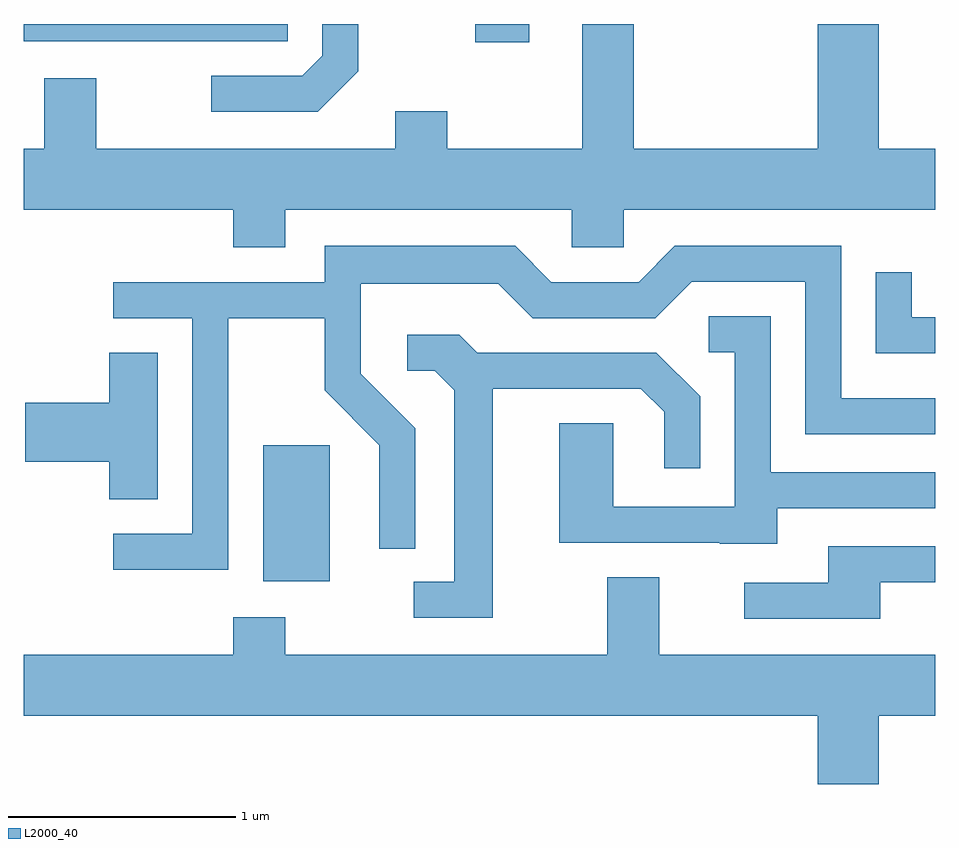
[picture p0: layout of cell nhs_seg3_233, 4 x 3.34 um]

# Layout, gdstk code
import gdstk
lib = gdstk.Library(unit=1e-6, precision=1e-09)
def R(c, l, rs):  # rectangles x0, y0, x1, y1
    for r in rs: c.add(gdstk.rectangle(r[:2], r[2:], *l))
def P(c, l, *ps):  # polygons
    for p in ps: c.add(gdstk.Polygon(p, *l))
L2000_40 = (2000, 40)

nhs_seg3_233 = lib.new_cell('nhs_seg3_233')
R(nhs_seg3_233, L2000_40, [(192.661,1175.446,192.954,1176.044), (193.593,1177.811,193.829,1177.892), (191.611,1177.816,192.769,1177.892)])
P(nhs_seg3_233, L2000_40, [(192.759,1177.076),(194.016,1177.076),(194.016,1176.911),(194.244,1176.911),(194.244,1177.076),(195.611,1177.076),(195.611,1177.344),(195.364,1177.344),(195.364,1177.892),(195.096,1177.892),(195.096,1177.344),(194.289,1177.344),(194.289,1177.892),(194.061,1177.892),(194.061,1177.344),(193.469,1177.344),(193.469,1177.509),(193.241,1177.509),(193.241,1177.344),(191.929,1177.344),(191.929,1177.654),(191.701,1177.654),(191.701,1177.344),(191.611,1177.344),(191.611,1177.076),(192.531,1177.076),(192.531,1176.911),(192.759,1176.911)],
  [(193.079,1177.684),(193.079,1177.892),(192.921,1177.892),(192.921,1177.752),(192.834,1177.664),(192.433,1177.664),(192.433,1177.506),(192.902,1177.506)],
  [(192.509,1176.601),(192.931,1176.601),(192.931,1176.284),(193.171,1176.044),(193.171,1175.588),(193.329,1175.588),(193.329,1176.117),(193.089,1176.357),(193.089,1176.751),(193.694,1176.751),(193.844,1176.601),(194.382,1176.601),(194.542,1176.761),(195.041,1176.761),(195.041,1176.091),(195.611,1176.091),(195.611,1176.249),(195.199,1176.249),(195.199,1176.919),(194.469,1176.919),(194.309,1176.759),(193.927,1176.759),(193.767,1176.919),(192.931,1176.919),(192.931,1176.759),(192.003,1176.759),(192.003,1176.601),(192.351,1176.601),(192.351,1175.654),(192.003,1175.654),(192.003,1175.496),(192.509,1175.496)],
  [(195.611,1176.604),(195.509,1176.604),(195.509,1176.803),(195.351,1176.803),(195.351,1176.446),(195.611,1176.446)],
  [(194.919,1175.766),(195.611,1175.766),(195.611,1175.924),(194.889,1175.924),(194.889,1176.609),(194.618,1176.609),(194.618,1176.451),(194.731,1176.451),(194.731,1175.774),(194.199,1175.774),(194.199,1176.139),(193.961,1176.139),(193.961,1175.616),(194.665,1175.616),(194.665,1175.611),(194.919,1175.611)],
  [(193.669,1176.291),(194.319,1176.291),(194.421,1176.189),(194.421,1175.943),(194.579,1175.943),(194.579,1176.257),(194.387,1176.449),(193.602,1176.449),(193.522,1176.529),(193.293,1176.529),(193.293,1176.371),(193.414,1176.371),(193.501,1176.284),(193.501,1175.444),(193.323,1175.444),(193.323,1175.286),(193.669,1175.286)],
  [(192.199,1176.449),(191.986,1176.449),(191.986,1176.229),(191.616,1176.229),(191.616,1175.971),(191.986,1175.971),(191.986,1175.806),(192.199,1175.806)],
  [(195.369,1175.441),(195.611,1175.441),(195.611,1175.599),(195.141,1175.599),(195.141,1175.439),(194.773,1175.439),(194.773,1175.281),(195.369,1175.281)],
  [(195.364,1174.856),(195.611,1174.856),(195.611,1175.124),(194.399,1175.124),(194.399,1175.464),(194.171,1175.464),(194.171,1175.124),(192.759,1175.124),(192.759,1175.289),(192.531,1175.289),(192.531,1175.124),(191.611,1175.124),(191.611,1174.856),(195.096,1174.856),(195.096,1174.556),(195.364,1174.556)])

lib.write_gds('nhs_seg3_233.gds')
